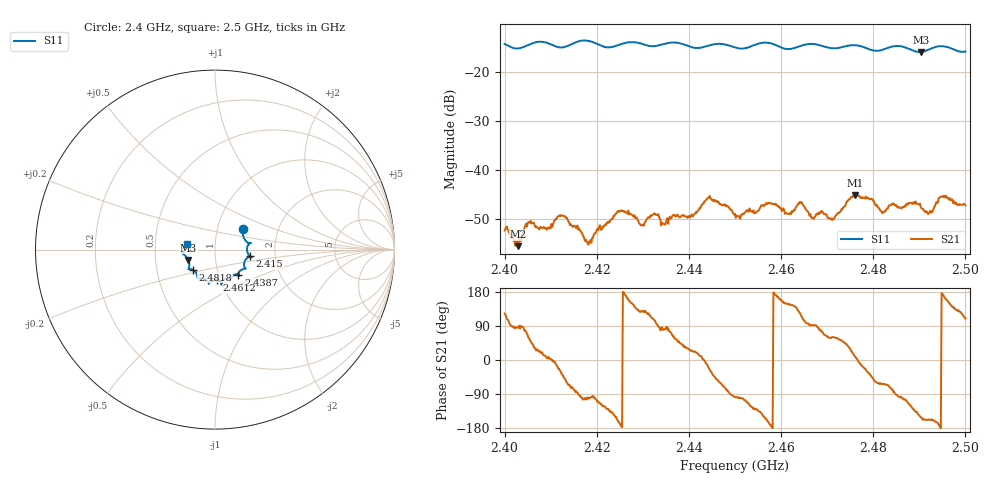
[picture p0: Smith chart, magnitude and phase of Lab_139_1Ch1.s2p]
# Hz S RI R 50
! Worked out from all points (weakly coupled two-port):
!   601 points, 2.4 GHz to 2.5 GHz, reference 50 ohm
!   highest |S21| = -45.22 dB at 2.476 GHz (marker M1); lowest = -55.6 dB at 2.403 GHz (marker M2)
!   lowest |S11| = -15.9 dB at 2.4903 GHz (marker M3), VSWR 1.38, Z = 36.8 - j4.4 ohm
!   |S11| at or under -10 dB: start of sweep to end of sweep
!   S12 and S22 are empty: the file has one direction only
!   S11 on the Smith chart (normalised r, x): 2.4 GHz: 1.33, +0.31; 2.415 GHz: 1.47, -0.11; 2.4387 GHz: 1.24, -0.36; 2.4612 GHz: 0.96, -0.34; 2.4818 GHz: 0.76, -0.17; 2.5 GHz: 0.73, +0.05
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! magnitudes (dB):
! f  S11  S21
! 2.4 GHz  -14.3  -52.4
! 2.403 GHz  -15.2  -55.6
! 2.4055 GHz  -14.3  -50.8
! 2.415 GHz  -14.1  -51.4
! 2.4167 GHz  -13.6  -52.8
! 2.4183 GHz  -13.7  -54.6
! 2.425 GHz  -14.4  -48.4
! 2.4297 GHz  -14.2  -51.3
! 2.4333 GHz  -14.6  -49.0
! 2.4387 GHz  -14.3  -49.3
! 2.4443 GHz  -14.6  -45.7
! 2.45 GHz  -15.0  -49.0
! 2.4573 GHz  -14.1  -46.7
! 2.4612 GHz  -15.3  -48.8
! 2.4642 GHz  -14.7  -46.5
! 2.4667 GHz  -14.3  -49.8
! 2.4712 GHz  -15.2  -50.2
! 2.476 GHz  -14.5  -45.2
! 2.4818 GHz  -15.5  -48.6
! 2.4833 GHz  -15.0  -47.3
! 2.4903 GHz  -15.9  -47.7
! 2.5 GHz  -15.8  -47.3
